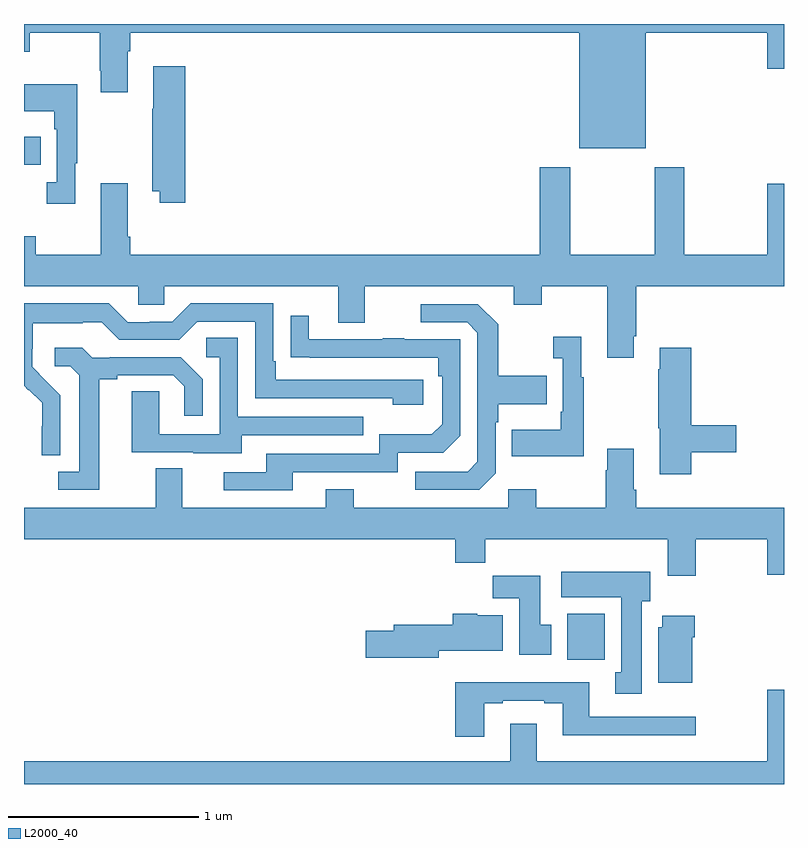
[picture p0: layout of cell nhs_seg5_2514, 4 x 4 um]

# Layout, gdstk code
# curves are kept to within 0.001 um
import gdstk
lib = gdstk.Library(unit=1e-6, precision=1e-09)
def R(c, l, rs):  # rectangles x0, y0, x1, y1
    for r in rs: c.add(gdstk.rectangle(r[:2], r[2:], *l))
def P(c, l, *ps):  # polygons
    for p in ps: c.add(gdstk.Polygon(p, *l))
L2000_40 = (2000, 40)

nhs_seg5_2514 = lib.new_cell('nhs_seg5_2514')
R(nhs_seg5_2514, L2000_40, [(259.859,861.452,260.056,861.694), (257,864.058,257.087,864.205)])
P(nhs_seg5_2514, L2000_40, [(260.272,864.752),(260.912,864.752),(260.912,864.564),(261,864.564),(261,864.799),(257,864.799),(257,864.653),(257.031,864.653),(257.031,864.752),(257.398,864.752),(257.398,864.553),(257.405,864.553),(257.405,864.441),(257.545,864.441),(257.545,864.656),(257.558,864.656),(257.558,864.752),(259.922,864.752),(259.922,864.146),(260.272,864.146)],
  [(257.849,864.577),(257.681,864.577),(257.681,864.353),(257.674,864.353),(257.674,863.918),(257.714,863.918),(257.714,863.859),(257.849,863.859)],
  [(257.269,864.065),(257.281,864.065),(257.281,864.481),(257,864.481),(257,864.341),(257.16,864.341),(257.16,864.245),(257.172,864.245),(257.172,863.966),(257.121,863.966),(257.121,863.853),(257.269,863.853)],
  [(260.209,863.155),(260.222,863.155),(260.222,863.42),(261,863.42),(261,863.959),(260.912,863.959),(260.912,863.584),(260.475,863.584),(260.475,864.046),(260.32,864.046),(260.32,863.584),(259.875,863.584),(259.875,864.046),(259.715,864.046),(259.715,863.584),(257.558,863.584),(257.558,863.68),(257.545,863.68),(257.545,863.962),(257.405,863.962),(257.405,863.584),(257.061,863.584),(257.061,863.683),(257,863.683),(257,863.42),(257.601,863.42),(257.601,863.322),(257.739,863.322),(257.739,863.42),(258.653,863.42),(258.653,863.226),(258.793,863.226),(258.793,863.42),(259.577,863.42),(259.577,863.321),(259.725,863.321),(259.725,863.42),(260.069,863.42),(260.069,863.043),(260.209,863.043)],
  [(257.19,862.846),(257.044,862.994),(257.044,863.091),(257.046,863.091),(257.046,863.225),(257.309,863.225),(257.309,863.229),(257.409,863.229),(257.502,863.136),(257.817,863.136),(257.913,863.232),(258.216,863.232),(258.216,862.83),(258.941,862.83),(258.941,862.796),(259.102,862.796),(259.102,862.926),(258.325,862.926),(258.325,863.023),(258.312,863.023),(258.312,863.328),(257.877,863.328),(257.781,863.232),(257.663,863.232),(257.663,863.229),(257.547,863.229),(257.447,863.329),(257,863.329),(257,862.894),(257.022,862.872),(257.025,862.875),(257.096,862.805),(257.096,862.682),(257.094,862.682),(257.094,862.528),(257.19,862.528)],
  [(259.482,862.434),(259.482,862.703),(259.495,862.703),(259.495,862.799),(259.751,862.799),(259.751,862.947),(259.495,862.947),(259.495,863.219),(259.389,863.325),(259.089,863.325),(259.089,863.229),(259.332,863.229),(259.386,863.175),(259.386,862.494),(259.335,862.443),(259.059,862.443),(259.059,862.347),(259.395,862.347)],
  [(258.415,862.44),(258.966,862.44),(258.966,862.542),(259.206,862.542),(259.296,862.632),(259.296,863.139),(259.001,863.139),(259.001,863.144),(258.889,863.144),(258.889,863.139),(258.499,863.139),(258.499,863.263),(258.403,863.263),(258.403,863.044),(259.18,863.043),(259.18,862.946),(259.2,862.946),(259.2,862.692),(259.147,862.639),(258.87,862.639),(258.87,862.536),(258.275,862.536),(258.275,862.44),(258.051,862.44),(258.051,862.344),(258.415,862.344)],
  [(259.945,862.939),(259.933,862.939),(259.933,863.152),(259.785,863.152),(259.785,863.039),(259.836,863.039),(259.836,862.759),(259.824,862.759),(259.824,862.663),(259.567,862.663),(259.567,862.523),(259.945,862.523)],
  [(258.145,862.635),(258.785,862.635),(258.785,862.731),(258.126,862.731),(258.126,863.147),(257.958,863.147),(257.958,863.046),(258.03,863.046),(258.03,862.641),(257.712,862.641),(257.712,862.865),(257.567,862.865),(257.567,862.545),(257.891,862.545),(257.891,862.541),(258.145,862.541)],
  [(260.513,862.546),(260.749,862.546),(260.749,862.688),(260.513,862.688),(260.513,863.095),(260.345,863.095),(260.345,862.982),(260.338,862.982),(260.338,862.671),(260.345,862.671),(260.345,862.428),(260.513,862.428)],
  [(257.395,862.928),(257.491,862.928),(257.491,862.95),(257.786,862.95),(257.843,862.893),(257.843,862.737),(257.94,862.737),(257.94,862.93),(257.824,863.046),(257.452,863.046),(257.452,863.043),(257.358,863.043),(257.306,863.095),(257.163,863.095),(257.163,862.998),(257.244,862.998),(257.291,862.951),(257.291,862.443),(257.181,862.443),(257.181,862.347),(257.395,862.347)],
  [(258.735,862.351),(258.587,862.351),(258.587,862.252),(257.833,862.252),(257.833,862.46),(257.693,862.46),(257.693,862.252),(257,862.252),(257,862.088),(259.271,862.088),(259.271,861.964),(259.427,861.964),(259.427,862.088),(260.387,862.088),(260.387,861.894),(260.535,861.894),(260.535,862.088),(260.912,862.088),(260.912,861.9),(261,861.9),(261,862.252),(260.222,862.252),(260.222,862.348),(260.209,862.348),(260.209,862.564),(260.069,862.564),(260.069,862.451),(260.062,862.451),(260.062,862.252),(259.695,862.252),(259.695,862.351),(259.548,862.351),(259.548,862.252),(258.735,862.252)],
  [(260.251,861.762),(260.296,861.762),(260.296,861.916),(259.827,861.916),(259.827,861.782),(260.144,861.782),(260.144,861.386),(260.111,861.386),(260.111,861.273),(260.251,861.273)],
  [(259.774,861.636),(259.717,861.636),(259.717,861.895),(259.468,861.895),(259.468,861.776),(259.607,861.776),(259.607,861.48),(259.774,861.48)],
  [(259.182,861.5),(259.519,861.5),(259.519,861.688),(259.386,861.688),(259.386,861.694),(259.256,861.694),(259.256,861.636),(258.947,861.636),(258.947,861.606),(258.798,861.606),(258.798,861.464),(259.182,861.464)],
  [(260.518,861.572),(260.531,861.572),(260.531,861.685),(260.36,861.685),(260.36,861.624),(260.339,861.624),(260.339,861.332),(260.518,861.332)],
  [(259.423,861.225),(259.519,861.225),(259.519,861.237),(259.739,861.237),(259.739,861.225),(259.835,861.225),(259.835,861.056),(260.536,861.056),(260.536,861.153),(259.975,861.153),(259.975,861.334),(259.271,861.334),(259.271,861.048),(259.423,861.048)],
  [(261,861.295),(260.912,861.295),(260.912,860.92),(259.699,860.92),(259.699,861.115),(259.559,861.115),(259.559,860.92),(257,860.92),(257,860.799),(261,860.799)])

lib.write_gds('nhs_seg5_2514.gds')
